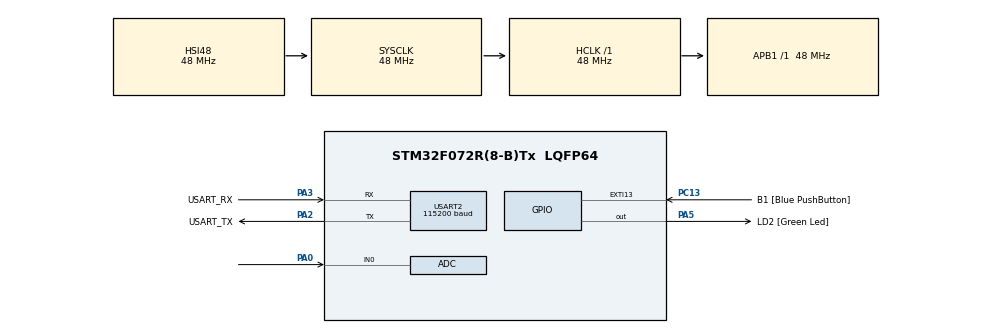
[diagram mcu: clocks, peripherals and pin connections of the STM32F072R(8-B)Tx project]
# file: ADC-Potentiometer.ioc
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ADC.ContinuousConvMode=ENABLE
Mcu.Family=STM32F0
Mcu.Name=STM32F072R(8-B)Tx
Mcu.Package=LQFP64
PA0.Mode=IN0
PA0.Signal=ADC_IN0
PA13.GPIO_Label=TMS
PA13.Mode=Serial_Wire
PA13.Signal=SYS_SWDIO
PA14.GPIO_Label=TCK
PA14.Mode=Serial_Wire
PA14.Signal=SYS_SWCLK
PA2.GPIO_Label=USART_TX
PA2.GPIO_Mode=GPIO_MODE_AF_PP
PA2.GPIO_PuPd=GPIO_NOPULL
PA2.GPIO_Speed=GPIO_SPEED_FREQ_LOW
PA2.Mode=Asynchronous
PA2.Signal=USART2_TX
PA3.GPIO_Label=USART_RX
PA3.GPIO_Mode=GPIO_MODE_AF_PP
PA3.GPIO_PuPd=GPIO_NOPULL
PA3.GPIO_Speed=GPIO_SPEED_FREQ_LOW
PA3.Mode=Asynchronous
PA3.Signal=USART2_RX
PA5.GPIO_Label=LD2 [Green Led]
PA5.GPIO_Mode=GPIO_MODE_OUTPUT_PP
PA5.GPIO_PuPd=GPIO_NOPULL
PA5.GPIO_Speed=GPIO_SPEED_FREQ_LOW
PA5.Signal=GPIO_Output
PC13.GPIO_Label=B1 [Blue PushButton]
PC13.GPIO_ModeDefaultEXTI=GPIO_MODE_IT_FALLING
PC13.Signal=GPXTI13
PC14-OSC32_IN.Mode=LSE-External-Oscillator
PC14-OSC32_IN.Signal=RCC_OSC32_IN
PC15-OSC32_OUT.Mode=LSE-External-Oscillator
PC15-OSC32_OUT.Signal=RCC_OSC32_OUT
PF0-OSC_IN.Mode=HSE-External-Clock-Source
PF0-OSC_IN.Signal=RCC_OSC_IN
PF1-OSC_OUT.Signal=RCC_OSC_OUT
ProjectManager.HeapSize=0x200
ProjectManager.StackSize=0x400
ProjectManager.TargetToolchain=STM32CubeIDE
RCC.AHBFreq_Value=48000000
RCC.APB1Freq_Value=48000000
RCC.APB1TimFreq_Value=48000000
RCC.FLatency-AdvancedSettings=FLASH_LATENCY_1
RCC.HCLKFreq_Value=48000000
RCC.PLLDivider=RCC_PREDIV_DIV2
RCC.PLLMUL=RCC_PLL_MUL12
RCC.PREFETCH_ENABLE-AdvancedSettings=1
RCC.SYSCLKFreq_VALUE=48000000
RCC.SYSCLKSource=RCC_SYSCLKSOURCE_HSI48
USART2.BaudRate=115200
USART2.VirtualMode=VM_ASYNC
USART2.VirtualMode-Asynchronous=VM_ASYNC
board=NUCLEO-F072RB

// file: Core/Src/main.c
/* USER CODE BEGIN Header */
/**
  ******************************************************************************
  * @file           : main.c
  * @brief          : Main program body
  ******************************************************************************
  * @attention
  *
  * Copyright (c) 2024 STMicroelectronics.
  * All rights reserved.
  *
  * This software is licensed under terms that can be found in the LICENSE file
  * in the root directory of this software component.
  * If no LICENSE file comes with this software, it is provided AS-IS.
  *
  ******************************************************************************
  */
/* USER CODE END Header */
#include "main.h"

/* USER CODE BEGIN Includes */
#include <stdio.h>
#include "string.h"
/* USER CODE END Includes */

ADC_HandleTypeDef hadc;      /* ADC Enable */

UART_HandleTypeDef huart2;

void SystemClock_Config(void);
static void MX_GPIO_Init(void);
static void MX_USART2_UART_Init(void);
static void MX_ADC_Init(void);
/* USER CODE BEGIN PFP */
#define PUTCHAR_PROTOTYPE int __io_putchar(int ch)                 /* For printf & scanf */
#define GETCHAR_PROTOTYPE int __io_getchar(void)

PUTCHAR_PROTOTYPE {
    HAL_UART_Transmit(&huart2, (uint8_t *)&ch, 1, HAL_MAX_DELAY);
    return ch;
}

GETCHAR_PROTOTYPE {
    uint8_t ch = 0;
    __HAL_UART_CLEAR_OREFLAG(&huart2);
    HAL_UART_Receive(&huart2, (uint8_t *)&ch, 1, HAL_MAX_DELAY);
    HAL_UART_Transmit(&huart2, (uint8_t *)&ch, 1, HAL_MAX_DELAY);
    return ch;
}
/* USER CODE END PFP */

/* USER CODE BEGIN 0 */
uint16_t readvalue;
float voltage = 0.0f;
float offset = 0.05;
/* USER CODE END 0 */

int main(void)
{
  /* USER CODE BEGIN 1 */
	setvbuf(stdin, NULL, _IONBF, 0);         /* For printf & scanf */
  /* USER CODE END 1 */

  /* MCU Configuration--------------------------------------------------------*/

  /* Reset of all peripherals, Initializes the Flash interface and the Systick. */
  HAL_Init();

  /* Configure the system clock */
  SystemClock_Config();

  /* Initialize all configured peripherals */
  MX_GPIO_Init();
  MX_USART2_UART_Init();
  MX_ADC_Init();
  /* USER CODE BEGIN 2 */
  HAL_ADC_Start(&hadc);
  /* USER CODE END 2 */

  /* Infinite loop */
  while (1)
  {
	  HAL_ADC_PollForConversion(&hadc,1000);
	  readvalue = HAL_ADC_GetValue(&hadc);
	  if (readvalue){
		  voltage = ((readvalue * (3.3/4095.0)) + offset);
	  }
	  else{
		  voltage = readvalue;
	  }

	  printf("Voltage:%.2f v\r\n",voltage);
	  HAL_Delay(500);
  }
}

void SystemClock_Config(void)
{
  RCC_OscInitTypeDef RCC_OscInitStruct = {0};
  RCC_ClkInitTypeDef RCC_ClkInitStruct = {0};
  RCC_PeriphCLKInitTypeDef PeriphClkInit = {0};

  /** Initializes the RCC Oscillators according to the specified parameters
  * in the RCC_OscInitTypeDef structure.
  */
  RCC_OscInitStruct.OscillatorType = RCC_OSCILLATORTYPE_HSI14|RCC_OSCILLATORTYPE_HSI48;
  RCC_OscInitStruct.HSI48State = RCC_HSI48_ON;
  RCC_OscInitStruct.HSI14State = RCC_HSI14_ON;
  RCC_OscInitStruct.HSI14CalibrationValue = 16;
  RCC_OscInitStruct.PLL.PLLState = RCC_PLL_NONE;
  if (HAL_RCC_OscConfig(&RCC_OscInitStruct) != HAL_OK)
  {
    Error_Handler();
  }
  /** Initializes the CPU, AHB and APB buses clocks
  */
  RCC_ClkInitStruct.ClockType = RCC_CLOCKTYPE_HCLK|RCC_CLOCKTYPE_SYSCLK
                              |RCC_CLOCKTYPE_PCLK1;
  RCC_ClkInitStruct.SYSCLKSource = RCC_SYSCLKSOURCE_HSI48;
  RCC_ClkInitStruct.AHBCLKDivider = RCC_SYSCLK_DIV1;
  RCC_ClkInitStruct.APB1CLKDivider = RCC_HCLK_DIV1;

  if (HAL_RCC_ClockConfig(&RCC_ClkInitStruct, FLASH_LATENCY_1) != HAL_OK)
  {
    Error_Handler();
  }
  PeriphClkInit.PeriphClockSelection = RCC_PERIPHCLK_USART2;
  PeriphClkInit.Usart2ClockSelection = RCC_USART2CLKSOURCE_PCLK1;
  if (HAL_RCCEx_PeriphCLKConfig(&PeriphClkInit) != HAL_OK)
  {
    Error_Handler();
  }
}

static void MX_ADC_Init(void)
{

  ADC_ChannelConfTypeDef sConfig = {0};

  /** Configure the global features of the ADC (Clock, Resolution, Data Alignment and number of conversion)
  */
  hadc.Instance = ADC1;
  hadc.Init.ClockPrescaler = ADC_CLOCK_ASYNC_DIV1;
  hadc.Init.Resolution = ADC_RESOLUTION_12B;
  hadc.Init.DataAlign = ADC_DATAALIGN_RIGHT;
  hadc.Init.ScanConvMode = ADC_SCAN_DIRECTION_FORWARD;
  hadc.Init.EOCSelection = ADC_EOC_SINGLE_CONV;
  hadc.Init.LowPowerAutoWait = DISABLE;
  hadc.Init.LowPowerAutoPowerOff = DISABLE;
  hadc.Init.ContinuousConvMode = ENABLE;
  hadc.Init.DiscontinuousConvMode = DISABLE;
  hadc.Init.ExternalTrigConv = ADC_SOFTWARE_START;
  hadc.Init.ExternalTrigConvEdge = ADC_EXTERNALTRIGCONVEDGE_NONE;
  hadc.Init.DMAContinuousRequests = DISABLE;
  hadc.Init.Overrun = ADC_OVR_DATA_PRESERVED;
  if (HAL_ADC_Init(&hadc) != HAL_OK)
  {
    Error_Handler();
  }
  /** Configure for the selected ADC regular channel to be converted.
  */
  sConfig.Channel = ADC_CHANNEL_0;
  sConfig.Rank = ADC_RANK_CHANNEL_NUMBER;
  sConfig.SamplingTime = ADC_SAMPLETIME_1CYCLE_5;
  if (HAL_ADC_ConfigChannel(&hadc, &sConfig) != HAL_OK)
  {
    Error_Handler();
  }

}

static void MX_USART2_UART_Init(void)
{

  huart2.Instance = USART2;
  huart2.Init.BaudRate = 115200;
  huart2.Init.WordLength = UART_WORDLENGTH_8B;
  huart2.Init.StopBits = UART_STOPBITS_1;
  huart2.Init.Parity = UART_PARITY_NONE;
  huart2.Init.Mode = UART_MODE_TX_RX;
  huart2.Init.HwFlowCtl = UART_HWCONTROL_NONE;
  huart2.Init.OverSampling = UART_OVERSAMPLING_16;
  huart2.Init.OneBitSampling = UART_ONE_BIT_SAMPLE_DISABLE;
  huart2.AdvancedInit.AdvFeatureInit = UART_ADVFEATURE_NO_INIT;
  if (HAL_UART_Init(&huart2) != HAL_OK)
  {
    Error_Handler();
  }

}

static void MX_GPIO_Init(void)
{
  GPIO_InitTypeDef GPIO_InitStruct = {0};

  /* GPIO Ports Clock Enable */
  __HAL_RCC_GPIOC_CLK_ENABLE();
  __HAL_RCC_GPIOF_CLK_ENABLE();
  __HAL_RCC_GPIOA_CLK_ENABLE();

  /*Configure GPIO pin Output Level */
  HAL_GPIO_WritePin(GPIOA, GPIO_PIN_5, GPIO_PIN_RESET);

  /*Configure GPIO pin : PC13 */
  GPIO_InitStruct.Pin = GPIO_PIN_13;
  GPIO_InitStruct.Mode = GPIO_MODE_IT_FALLING;
  GPIO_InitStruct.Pull = GPIO_NOPULL;
  HAL_GPIO_Init(GPIOC, &GPIO_InitStruct);

  /*Configure GPIO pin : PA5 */
  GPIO_InitStruct.Pin = GPIO_PIN_5;
  GPIO_InitStruct.Mode = GPIO_MODE_OUTPUT_PP;
  GPIO_InitStruct.Pull = GPIO_NOPULL;
  GPIO_InitStruct.Speed = GPIO_SPEED_FREQ_LOW;
  HAL_GPIO_Init(GPIOA, &GPIO_InitStruct);

}

void Error_Handler(void)
{
  __disable_irq();
  while (1)
  {
  }
}
